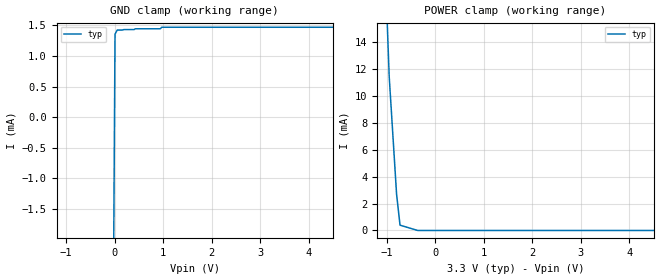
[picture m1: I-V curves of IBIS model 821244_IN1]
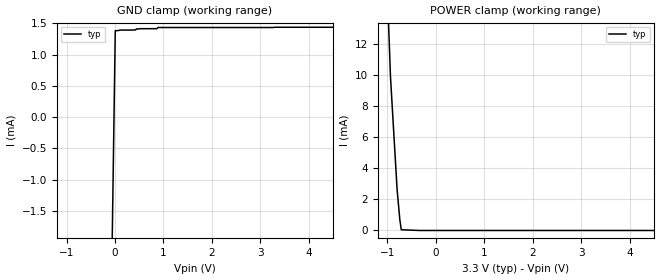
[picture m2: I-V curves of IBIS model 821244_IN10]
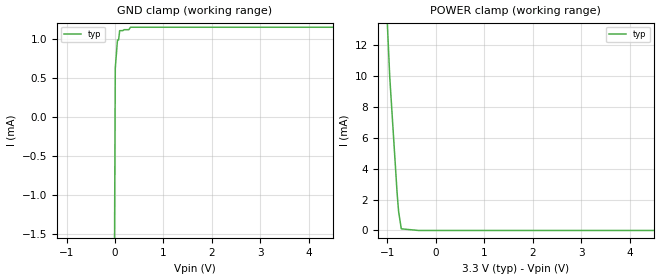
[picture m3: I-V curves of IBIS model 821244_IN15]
| COPYRIGHT(C) MENTOR GRAPHICS CORPORATION 2002 ALL
| RIGHTS RESERVED. THIS WORK CONTAINS PROPRIETARY
| INFORMATION WHICH IS THE PROPERTY OF MENTOR GRAPHICS
| CORPORATION OR ITS LICENSORS. USE OF THESE MATERIALS
| IS SUBJECT TO THE TERMS BELOW.
| USE: MENTOR GRAPHICS HAS LICENSED IBIS MODELS TO
| SPECIFIC INTEGRATED CIRCUIT SUPPLIERS ("IC VENDORS")
| FOR USE AND DISTRIBUTION AS FOLLOWS: EACH IC VENDOR
| MAY USE IBIS MODELS, AND DISTRIBUTE THEM TO IC VENDOR'S
| CUSTOMERS TO USE, SOLELY FOR DEVELOPING PRINTED
| CIRCUIT BOARD DESIGNS. NO OTHER USE OR DISTRIBUTION
| OF THESE MATERIALS IS PERMITTED.
| DISCLAIMER OF WARRANTY:  UNLESS OTHERWISE AGREED
| IN WRITING, MENTOR GRAPHICS SOFTWARE AND ASSOCIATED
| FILES ARE PROVIDED "AS IS" AND WITHOUT WARRANTY.
| MENTOR GRAPHICS HAS NO OBLIGATION TO SUPPORT OR
| OTHERWISE MAINTAIN SOFTWARE.  MENTOR GRAPHICS MAKES
| NO WARRANTIES, EXPRESS OR IMPLIED WITH RESPECT TO
| SOFTWARE INCLUDING ANY WARRANTY OF MERCHANTABILITY
| OR FITNESS FOR A PARTICULAR PURPOSE.
| LIMITATION OF LIABILITY:  MENTOR GRAPHICS IS NOT LIABLE FOR
| ANY PROPERTY DAMAGE, PERSONAL INJURY, LOSS OF PROFITS,
| INTERRUPTION OF BUSINESS, OR FOR ANY OTHER SPECIAL,
| CONSEQUENTIAL OR INCIDENTAL DAMAGES, HOWEVER CAUSED,
| WHETHER FOR BREACH OF WARRANTY, CONTRACT, TORT
| (INCLUDING NEGLIGENCE), STRICT LIABILITY OR OTHERWISE. IN NO
| EVENT SHALL MENTOR GRAPHICS' LIABILITY EXCEED THE AMOUNT
| PAID FOR THE PRODUCT GIVING RISE TO THE CLAIM.
| TRADEMARKS:  THE FOLLOWING ARE REGISTERED TRADEMARKS
| OR SERVICE MARKS OF MENTOR GRAPHICS CORPORATION:
| ICX, ICX STANDARD LIBRARY, ICX PROJECT MODELING,
| AND ICX CUSTOM MODELING.  THE FOLLOWING ARE TRADEMARKS
| OR SERVICE MARKS OF MENTOR GRAPHICS CORPORATION:
| QUALITYIBIS, MODELVIEWER, AND MODELEDITOR. ALL OTHER
| BRANDS AND PRODUCT NAMES ARE TRADEMARKS OF THEIR
| RESPECTIVE OWNERS.
| COPIES:  ALL COPIES OF SOFTWARE, INCLUDING BUT NOT LIMITED
| TO ANY MODIFICATIONS, ENHANCEMENTS OR DERIVATIVE WORKS
| MUST CONTAIN ALL MENTOR GRAPHICS' NOTICES AND LEGENDS,
| INCLUDING THOSE EMBEDDED IN SOFTWARE AND THOSE AFFIXED
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[IBIS Ver] 3.2
[File Name] ad9744aru.ibs
[File Rev] 2.0
[Source] Measured and created by ICX Technology
[Date] Friday 7/5/02 11:58:33 AM
[Copyright]
| COPYRIGHT(C) MENTOR GRAPHICS CORPORATION 2002 ALL
| RIGHTS RESERVED. THIS WORK CONTAINS PROPRIETARY
| INFORMATION WHICH IS THE PROPERTY OF MENTOR GRAPHICS
| CORPORATION OR ITS LICENSORS. USE OF THESE MATERIALS
| IS SUBJECT TO THE TERMS BELOW.
| USE: MENTOR GRAPHICS HAS LICENSED IBIS MODELS TO
| SPECIFIC INTEGRATED CIRCUIT SUPPLIERS ("IC VENDORS")
| FOR USE AND DISTRIBUTION AS FOLLOWS: EACH IC VENDOR
| MAY USE IBIS MODELS, AND DISTRIBUTE THEM TO IC VENDOR'S
| CUSTOMERS TO USE, SOLELY FOR DEVELOPING PRINTED
| CIRCUIT BOARD DESIGNS. NO OTHER USE OR DISTRIBUTION
| OF THESE MATERIALS IS PERMITTED.
|  ZAP Model Builder 3.2
[Component] AD9744ARU
[Manufacturer] AnalogDevices
[Package]
| variable   typ   min   max
R_pkg  .188ohms NA NA
L_pkg  4.383nH NA NA
C_pkg  .39pF NA NA
[Pin] signal_name  model_name  R_pin  L_pin C_pin
1 DB13 821244_IN1 .212 6.028n .458p
2 DB12 821244_IN4 .201 5.3n .43p
3 DB11 821244_IN4 .193 4.73n .41p
4 DB10 821244_IN4 .185 4.17n .39p
5 DB9 821244_IN4 .177 3.67n .36p
6 DB8 821244_IN4 .174 3.44n .35p
7 DB7 821244_IN4 .173 3.34n .33p
8 DB6 821244_IN10 .173 3.34n .33p
9 DB5 821244_IN10 .174 3.44n .35p
10 DB4 821244_IN10 .177 3.67n .36p
11 DB3 821244_IN10 .185 4.17n .39p
12 DB2 821244_IN10 .193 4.73n .41p
13 DB1 821244_IN10 .201 5.3n .43p
14 DB0 821244_IN1 .212 6.028n .458p
15 SLEEP 821244_IN15 .212 6.028n .458p
16 REFLO NC .201 5.3n .43p
17 REFIO NC .193 4.73n .41p
18 FSADJ NC .185 4.17n .39p
19 NC NC .177 3.67n .36p
20 ACOM GND .174 3.44n .35p
21 IOUTB NC .173 3.34n .33p
22 IOUTA NC .173 3.34n .33p
23 RESERVED NC .174 3.44n .35p
24 AVDD POWER .177 3.67n .36p
25 MODE 821244_IN25 .185 4.17n .39p
26 DCOM GND .193 4.73n .41p
27 DVDD POWER .201 5.3n .43p
28 CLOCK 821244_IN28 .212 6.028n .458p
| Models and submodels in the file (6): 821244_IN1 (Input), 821244_IN10 (Input), 821244_IN15 (Input), 821244_IN25 (Input), 821244_IN28 (Input), 821244_IN4 (Input)
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| COPYRIGHT(C) MENTOR GRAPHICS CORPORATION 2002 ALL
| RIGHTS RESERVED. THIS WORK CONTAINS PROPRIETARY
| INFORMATION WHICH IS THE PROPERTY OF MENTOR GRAPHICS
| CORPORATION OR ITS LICENSORS. USE OF THESE MATERIALS
| IS SUBJECT TO THE TERMS BELOW.
| USE: MENTOR GRAPHICS HAS LICENSED IBIS MODELS TO
| SPECIFIC INTEGRATED CIRCUIT SUPPLIERS ("IC VENDORS")
| FOR USE AND DISTRIBUTION AS FOLLOWS: EACH IC VENDOR
| MAY USE IBIS MODELS, AND DISTRIBUTE THEM TO IC VENDOR'S
| CUSTOMERS TO USE, SOLELY FOR DEVELOPING PRINTED
| CIRCUIT BOARD DESIGNS. NO OTHER USE OR DISTRIBUTION
| OF THESE MATERIALS IS PERMITTED.
| Model Application Version 1.89 2/18/99.
[Model] 821244_IN1
Model_type Input
Vinl = 900.0mV
Vinh = 2.100V
C_comp 5.000pF NA NA
| variable typ   min   max
[Voltage Range] 3.300V NA NA
[GND Clamp Reference] 0.000V NA NA
[POWER Clamp Reference] 3.300V NA NA
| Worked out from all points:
|   POWER clamp passes 1 mA (typ) near -0.75 V on its own axis
[GND Clamp]
-3.3V     -426.9mA   NA         NA
5.279mV   1.358mA    NA         NA
50.8mV    1.425mA    NA         NA
153.4mV   1.425mA    NA         NA
187.6mV   1.433mA    NA         NA
395.9mV   1.433mA    NA         NA
425.7mV   1.446mA    NA         NA
937.9mV   1.446mA    NA         NA
968.1mV   1.471mA    NA         NA
6.6V      1.471mA    NA         NA
[POWER Clamp]
-3.3V     329mA      NA         NA
-1.088V   24.84mA    NA         NA
-951.6mV  11.42mA    NA         NA
-799.7mV  2.693mA    NA         NA
-728.4mV  393.5uA    NA         NA
-364.2mV  0A         NA         NA
6.6V      0A         NA         NA
| COPYRIGHT(C) MENTOR GRAPHICS CORPORATION 2002 ALL
| RIGHTS RESERVED. THIS WORK CONTAINS PROPRIETARY
| INFORMATION WHICH IS THE PROPERTY OF MENTOR GRAPHICS
| CORPORATION OR ITS LICENSORS. USE OF THESE MATERIALS
| IS SUBJECT TO THE TERMS BELOW.
| USE: MENTOR GRAPHICS HAS LICENSED IBIS MODELS TO
| SPECIFIC INTEGRATED CIRCUIT SUPPLIERS ("IC VENDORS")
| FOR USE AND DISTRIBUTION AS FOLLOWS: EACH IC VENDOR
| MAY USE IBIS MODELS, AND DISTRIBUTE THEM TO IC VENDOR'S
| CUSTOMERS TO USE, SOLELY FOR DEVELOPING PRINTED
| CIRCUIT BOARD DESIGNS. NO OTHER USE OR DISTRIBUTION
| OF THESE MATERIALS IS PERMITTED.
| Model Application Version 1.89 2/18/99.
[Model] 821244_IN10
Model_type Input
Vinl = 900.0mV
Vinh = 2.100V
C_comp 5.000pF NA NA
| variable typ   min   max
[Voltage Range] 3.300V NA NA
[GND Clamp Reference] 0.000V NA NA
[POWER Clamp Reference] 3.300V NA NA
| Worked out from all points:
|   POWER clamp passes 1 mA (typ) near -0.75 V on its own axis
[GND Clamp]
-3.3V     -173.8mA   NA         NA
5.273mV   1.382mA    NA         NA
425.6mV   1.393mA    NA         NA
440.9mV   1.409mA    NA         NA
532.1mV   1.413mA    NA         NA
859.2mV   1.413mA    NA         NA
891.9mV   1.432mA    NA         NA
6.6V      1.436mA    NA         NA
[POWER Clamp]
-3.3V     288.4mA    NA         NA
-1.104V   24.42mA    NA         NA
-936.4mV  9.918mA    NA         NA
-799.8mV  2.648mA    NA         NA
-743.8mV  713.1uA    NA         NA
-713.4mV  43.17uA    NA         NA
-683.1mV  43.17uA    NA         NA
-341.6mV  0A         NA         NA
6.6V      0A         NA         NA
| COPYRIGHT(C) MENTOR GRAPHICS CORPORATION 2002 ALL
| RIGHTS RESERVED. THIS WORK CONTAINS PROPRIETARY
| INFORMATION WHICH IS THE PROPERTY OF MENTOR GRAPHICS
| CORPORATION OR ITS LICENSORS. USE OF THESE MATERIALS
| IS SUBJECT TO THE TERMS BELOW.
| USE: MENTOR GRAPHICS HAS LICENSED IBIS MODELS TO
| SPECIFIC INTEGRATED CIRCUIT SUPPLIERS ("IC VENDORS")
| FOR USE AND DISTRIBUTION AS FOLLOWS: EACH IC VENDOR
| MAY USE IBIS MODELS, AND DISTRIBUTE THEM TO IC VENDOR'S
| CUSTOMERS TO USE, SOLELY FOR DEVELOPING PRINTED
| CIRCUIT BOARD DESIGNS. NO OTHER USE OR DISTRIBUTION
| OF THESE MATERIALS IS PERMITTED.
| Model Application Version 1.89 2/18/99.
[Model] 821244_IN15
Model_type Input
Vinl = 900.0mV
Vinh = 2.100V
C_comp 5.000pF NA NA
| variable typ   min   max
[Voltage Range] 3.300V NA NA
[GND Clamp Reference] 0.000V NA NA
[POWER Clamp Reference] 3.300V NA NA
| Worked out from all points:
|   POWER clamp passes 1 mA (typ) near -0.76 V on its own axis
[GND Clamp]
-3.3V     -489.2mA   NA         NA
5.26mV    623.7uA    NA         NA
50.8mV    986.5uA    NA         NA
73.55mV   986.5uA    NA         NA
96.31mV   1.107mA    NA         NA
164.8mV   1.107mA    NA         NA
187.6mV   1.119mA    NA         NA
286.4mV   1.119mA    NA         NA
319.3mV   1.15mA     NA         NA
6.6V      1.15mA     NA         NA
[POWER Clamp]
-3.3V     208.9mA    NA         NA
-1.058V   17.36mA    NA         NA
-951.8mV  9.945mA    NA         NA
-799.9mV  2.441mA    NA         NA
-769.3mV  1.24mA     NA         NA
-713.5mV  106.4uA    NA         NA
-356.8mV  0A         NA         NA
6.6V      0A         NA         NA
